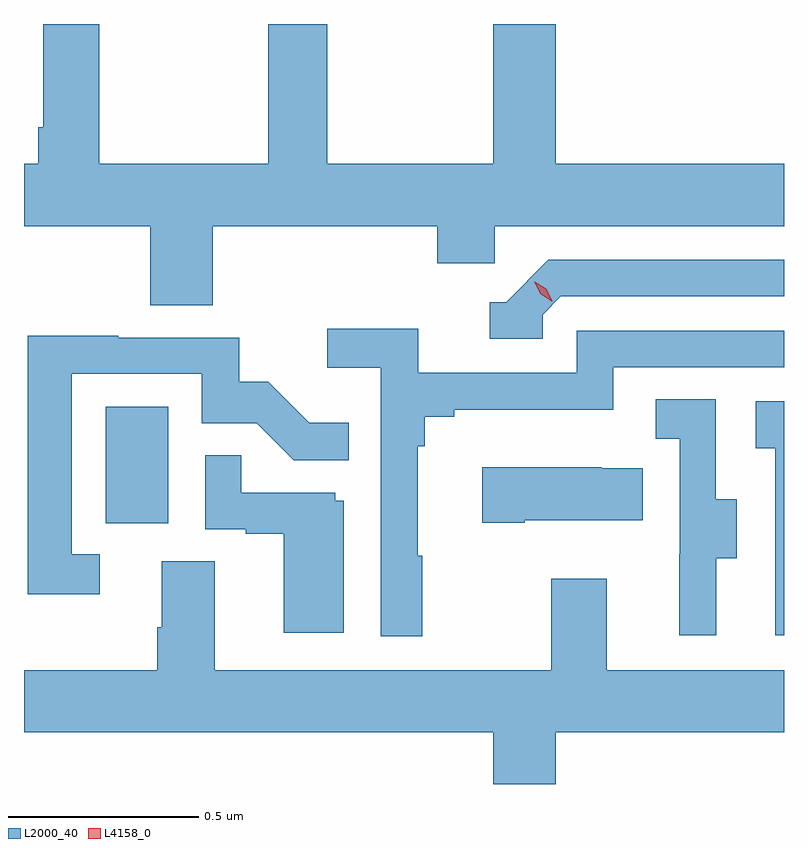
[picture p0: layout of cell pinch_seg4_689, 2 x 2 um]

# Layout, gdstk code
import gdstk
lib = gdstk.Library(unit=1e-6, precision=1e-09)
def R(c, l, rs):  # rectangles x0, y0, x1, y1
    for r in rs: c.add(gdstk.rectangle(r[:2], r[2:], *l))
def P(c, l, *ps):  # polygons
    for p in ps: c.add(gdstk.Polygon(p, *l))
L2000_40 = (2000, 40)
L4158_0 = (4158, 0)

pinch_seg4_689 = lib.new_cell('pinch_seg4_689')
R(pinch_seg4_689, L2000_40, [(1123.028,761.406,1123.192,761.713)])
P(pinch_seg4_689, L2000_40, [(1123.31,762.188),(1123.901,762.188),(1123.901,762.09),(1124.052,762.09),(1124.052,762.188),(1124.813,762.188),(1124.813,762.352),(1124.212,762.352),(1124.212,762.72),(1124.048,762.72),(1124.048,762.352),(1123.611,762.352),(1123.611,762.72),(1123.456,762.72),(1123.456,762.352),(1123.011,762.352),(1123.011,762.72),(1122.863,762.72),(1122.863,762.448),(1122.851,762.448),(1122.851,762.352),(1122.813,762.352),(1122.813,762.188),(1123.145,762.188),(1123.145,761.98),(1123.31,761.98)],
  [(1124.178,761.955),(1124.226,762.003),(1124.813,762.003),(1124.813,762.099),(1124.193,762.099),(1124.082,761.988),(1124.039,761.988),(1124.039,761.892),(1124.178,761.892)],
  [(1123.861,761.321),(1123.849,761.321),(1123.849,761.609),(1123.868,761.609),(1123.868,761.686),(1123.945,761.686),(1123.945,761.705),(1124.364,761.705),(1124.364,761.817),(1124.813,761.817),(1124.813,761.913),(1124.268,761.913),(1124.268,761.802),(1123.85,761.802),(1123.85,761.918),(1123.611,761.918),(1123.611,761.816),(1123.752,761.816),(1123.752,761.109),(1123.861,761.109)],
  [(1123.012,761.325),(1122.939,761.325),(1122.939,761.799),(1123.281,761.799),(1123.281,761.67),(1123.425,761.67),(1123.523,761.572),(1123.667,761.572),(1123.667,761.671),(1123.563,761.671),(1123.456,761.778),(1123.38,761.778),(1123.38,761.895),(1123.061,761.895),(1123.061,761.9),(1122.823,761.9),(1122.823,761.22),(1123.012,761.22)],
  [(1124.635,761.314),(1124.689,761.314),(1124.689,761.469),(1124.634,761.469),(1124.634,761.732),(1124.475,761.732),(1124.475,761.629),(1124.538,761.629),(1124.538,761.325),(1124.537,761.325),(1124.537,761.112),(1124.635,761.112)],
  [(1124.813,761.727),(1124.739,761.727),(1124.739,761.603),(1124.79,761.603),(1124.79,761.112),(1124.813,761.112)],
  [(1123.654,761.466),(1123.632,761.466),(1123.632,761.487),(1123.385,761.487),(1123.385,761.585),(1123.29,761.585),(1123.29,761.391),(1123.397,761.391),(1123.397,761.379),(1123.496,761.379),(1123.496,761.118),(1123.654,761.118)],
  [(1124.131,761.414),(1124.441,761.414),(1124.441,761.551),(1124.333,761.551),(1124.333,761.554),(1124.019,761.554),(1124.019,761.407),(1124.131,761.407)],
  [(1124.212,760.856),(1124.813,760.856),(1124.813,761.02),(1124.347,761.02),(1124.347,761.26),(1124.2,761.26),(1124.2,761.02),(1123.315,761.02),(1123.315,761.306),(1123.175,761.306),(1123.175,761.132),(1123.163,761.132),(1123.163,761.02),(1122.813,761.02),(1122.813,760.856),(1124.048,760.856),(1124.048,760.72),(1124.212,760.72)])
P(pinch_seg4_689, L4158_0, [(1124.202,761.99),(1124.172,762.01),(1124.156,762.042),(1124.156,762.042),(1124.157,762.042),(1124.187,762.023),(1124.203,761.99),(1124.203,761.99)])

lib.write_gds('pinch_seg4_689.gds')
